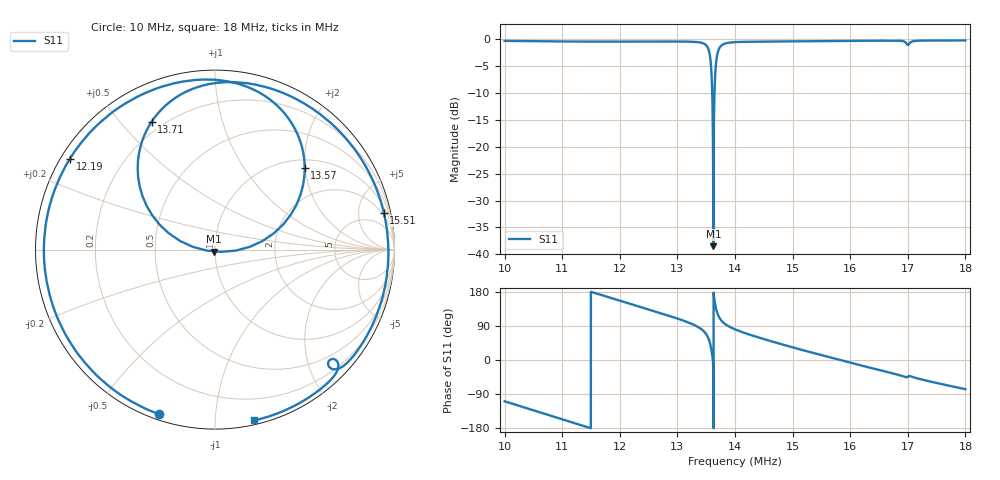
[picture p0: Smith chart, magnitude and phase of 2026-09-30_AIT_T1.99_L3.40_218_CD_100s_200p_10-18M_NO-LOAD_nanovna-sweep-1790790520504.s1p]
! NanoVNA Web complex sweep
! Processing: unaveraged complex samples; linear segment spacing; no smoothing
# Hz S RI R 50
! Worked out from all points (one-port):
!   10100 points, 10 MHz to 18 MHz, reference 50 ohm
!   lowest |S11| = -38.5 dB at 13.62 MHz (marker M1), VSWR 1.02, Z = 49.5 - j1.07 ohm
!   |S11| at or under -10 dB: 13.60367 MHz to 13.64318 MHz (39.51 kHz wide, 0.29 % of centre)
!   S11 on the Smith chart (normalised r, x): 10 MHz: 0.02, -0.71; 12.19 MHz: 0.03, +0.29; 13.57 MHz: 1.19, +1.99; 13.71 MHz: 0.16, +0.61; 15.51 MHz: 1.60, +8.99; 18 MHz: 0.03, -1.26
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1e7  -0.3141 -0.916
1.045857e7  -0.6285 -0.7292
1.10003e7  -0.8774 -0.3808
1.14953e7  -0.9535 -0.00153
1.19998e7  -0.8751 0.3786
1.21883e7  -0.808 0.5068
1.30001e7  -0.3179 0.9002
1.327096e7  -0.0635 0.9473
1.343649e7  0.179 0.9068
1.35149e7  0.3731 0.7751
1.356875e7  0.5 0.455
1.359489e7  0.4021 0.1663
1.36234e7  -0.00493 -0.0108
1.365033e7  -0.3563 0.2008
1.366617e7  -0.4247 0.3791
1.368359e7  -0.4229 0.5405
1.37121e7  -0.3534 0.7119
1.380239e7  -0.1257 0.8953
1.39996e7  0.1497 0.9305
1.445421e7  0.5151 0.803
1.49991e7  0.7998 0.5281
1.550915e7  0.9405 0.2054
1.59994e7  0.959 -0.1205
1.657835e7  0.8489 -0.4754
1.691733e7  0.7027 -0.6566
1.69989e7  0.6346 -0.6204
1.71082e7  0.6699 -0.695
1.799841e7  0.2194 -0.9519
